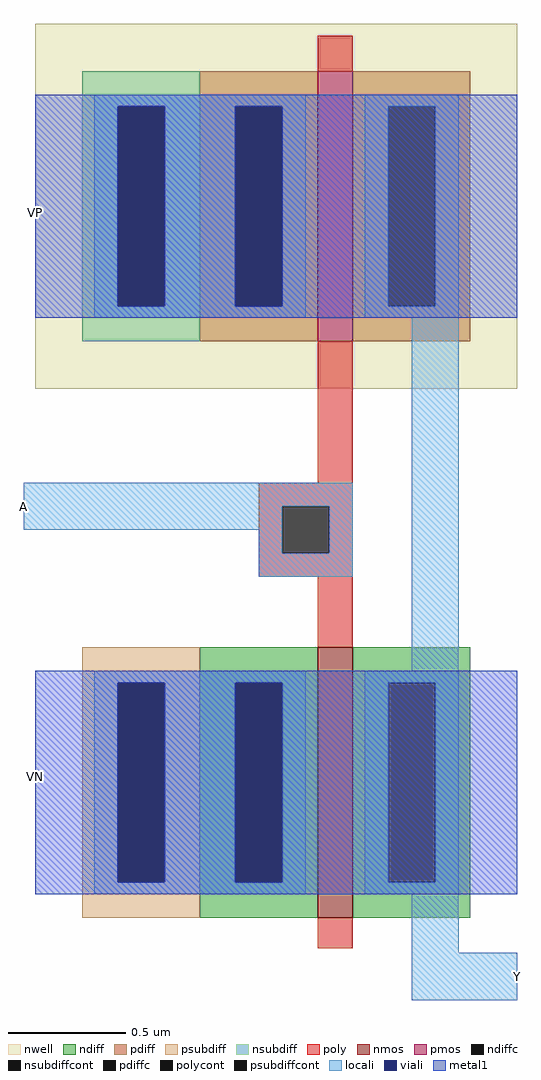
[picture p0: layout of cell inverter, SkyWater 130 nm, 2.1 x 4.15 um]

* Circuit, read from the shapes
.subckt inverter A Y VP VN
XM1 Y A VN VN sky130_fd_pr__nfet_01v8 w=1.15 l=0.15
XM2 Y A VP VP sky130_fd_pr__pfet_01v8 w=1.15 l=0.15
.ends

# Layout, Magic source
magic
tech sky130A
<< nwell >>
rect -135 190 70 345
<< nmos >>
rect -15 -35 0 80
<< pmos >>
rect -15 210 0 325
<< ndiff >>
rect -65 65 -15 80
rect -65 -20 -50 65
rect -30 -20 -15 65
rect -65 -35 -15 -20
rect 0 65 50 80
rect 0 -20 15 65
rect 35 -20 50 65
rect 0 -35 50 -20
<< pdiff >>
rect -65 310 -15 325
rect -65 225 -50 310
rect -30 225 -15 310
rect -65 210 -15 225
rect 0 310 50 325
rect 0 225 15 310
rect 35 225 50 310
rect 0 210 50 225
<< ndiffc >>
rect -50 -20 -30 65
rect 15 -20 35 65
<< pdiffc >>
rect -50 225 -30 310
rect 15 225 35 310
<< psubdiff >>
rect -115 65 -65 80
rect -115 -20 -100 65
rect -80 -20 -65 65
rect -115 -35 -65 -20
<< nsubdiff >>
rect -115 310 -65 325
rect -115 225 -100 310
rect -80 225 -65 310
rect -115 210 -65 225
<< psubdiffcont >>
rect -100 -20 -80 65
<< nsubdiffcont >>
rect -100 225 -80 310
<< poly >>
rect -15 325 0 340
rect -15 150 0 210
rect -40 140 0 150
rect -40 120 -30 140
rect -10 120 0 140
rect -40 110 0 120
rect -15 80 0 110
rect -15 -48 0 -35
<< polycont >>
rect -30 120 -10 140
<< locali >>
rect -110 310 -20 315
rect -110 225 -100 310
rect -80 225 -50 310
rect -30 225 -20 310
rect -110 220 -20 225
rect 5 310 45 315
rect 5 225 15 310
rect 35 225 45 310
rect 5 220 45 225
rect -140 140 0 150
rect -140 130 -30 140
rect -40 120 -30 130
rect -10 120 0 140
rect -40 110 0 120
rect 25 70 45 220
rect -110 65 -20 70
rect -110 -20 -100 65
rect -80 -20 -50 65
rect -30 -20 -20 65
rect -110 -25 -20 -20
rect 5 65 45 70
rect 5 -20 15 65
rect 35 -20 45 65
rect 5 -25 45 -20
rect 25 -50 45 -25
rect 25 -70 70 -50
<< viali >>
rect -100 225 -80 310
rect -50 225 -30 310
rect -100 -20 -80 65
rect -50 -20 -30 65
<< metal1 >>
rect -135 310 70 315
rect -135 225 -100 310
rect -80 225 -50 310
rect -30 225 70 310
rect -135 220 70 225
rect -135 65 70 70
rect -135 -20 -100 65
rect -80 -20 -50 65
rect -30 -20 70 65
rect -135 -25 70 -20
<< labels >>
rlabel metal1 -135 265 -135 265 7 VP
port 3 w
rlabel locali 70 -60 70 -60 3 Y
port 2 e
rlabel metal1 -135 25 -135 25 7 VN
port 4 w
rlabel locali -140 140 -140 140 7 A
port 1 w
<< end >>
